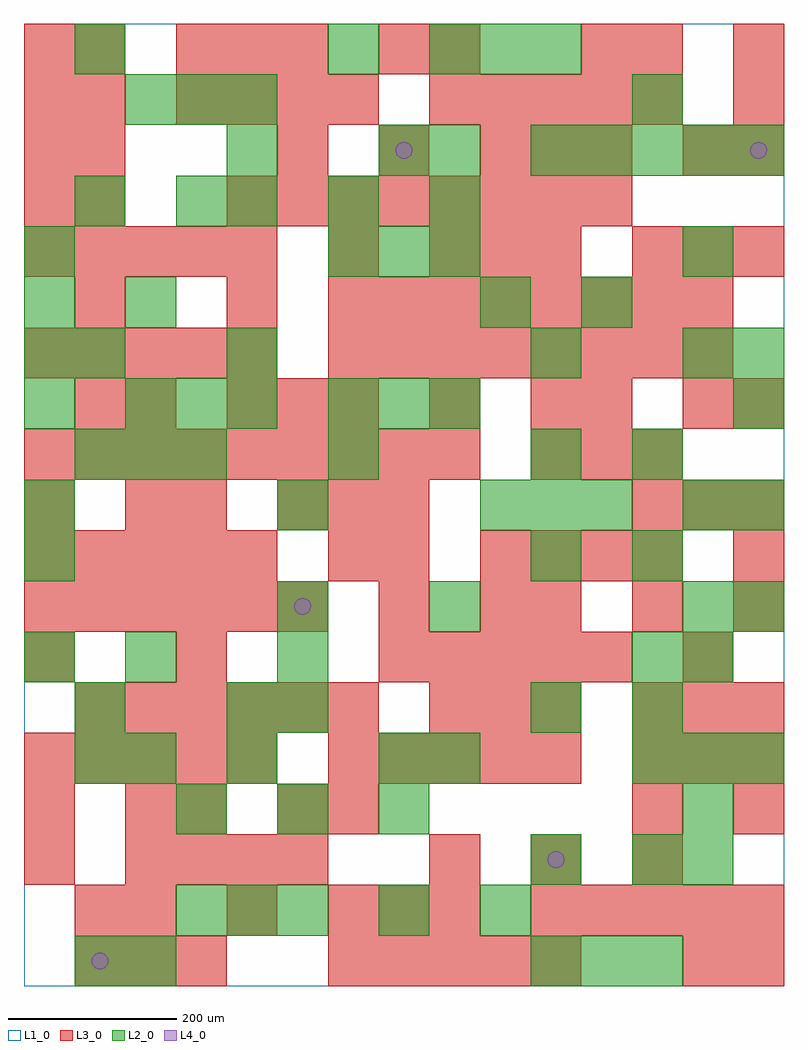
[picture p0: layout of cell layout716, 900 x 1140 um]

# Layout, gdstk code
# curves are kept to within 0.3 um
import gdstk
lib = gdstk.Library(unit=1e-6, precision=1e-09)
def R(c, l, rs):  # rectangles x0, y0, x1, y1
    for r in rs: c.add(gdstk.rectangle(r[:2], r[2:], *l))
def A(c, l, x, y, w, h, nx, ny, dx, dy):  # array of equal rectangles
    R(c, l, [(x+i*dx, y+j*dy, x+i*dx+w, y+j*dy+h) for i in range(nx) for j in range(ny)])
def P(c, l, *ps):  # polygons
    for p in ps: c.add(gdstk.Polygon(p, *l))
L1_0 = (1, 0)
L2_0 = (2, 0)
L3_0 = (3, 0)
L4_0 = (4, 0)

layout716 = lib.new_cell('layout716')
R(layout716, L1_0, [(0,0,900,1140)])
A(layout716, L2_0, 600, 0, 60, 60, 3, 1, 60, 0)
A(layout716, L2_0, 180, 60, 60, 60, 3, 1, 60, 0)
A(layout716, L2_0, 600, 120, 60, 60, 1, 3, 0, 180)
A(layout716, L2_0, 180, 180, 60, 60, 3, 1, 120, 0)
A(layout716, L2_0, 720, 240, 60, 60, 3, 1, 60, 0)
A(layout716, L2_0, 300, 300, 60, 60, 1, 3, 0, 60)
A(layout716, L2_0, 720, 360, 60, 60, 1, 3, 0, 120)
A(layout716, L2_0, 840, 420, 60, 60, 1, 3, 0, 120)
A(layout716, L2_0, 540, 540, 60, 60, 3, 1, 60, 0)
A(layout716, L2_0, 60, 600, 60, 60, 3, 1, 60, 0)
A(layout716, L2_0, 0, 660, 60, 60, 1, 4, 0, 60)
A(layout716, L2_0, 120, 660, 60, 60, 3, 2, 60, 360)
A(layout716, L2_0, 360, 660, 60, 60, 3, 2, 60, 180)
A(layout716, L2_0, 60, 720, 60, 60, 1, 3, 0, 180)
A(layout716, L2_0, 240, 900, 60, 60, 3, 1, 120, 0)
A(layout716, L2_0, 600, 960, 60, 60, 5, 1, 60, 0)
A(layout716, L2_0, 480, 1080, 60, 60, 3, 1, 60, 0)
R(layout716, L2_0, [(60,0,120,60), (120,0,180,60), (420,60,480,120), (540,60,600,120), (720,120,780,180), (780,120,840,180), (780,180,840,240), (60,240,120,300), (120,240,180,300), (240,240,300,300), (420,240,480,300), (480,240,540,300), (60,300,120,360), (240,300,300,360), (720,300,780,360), (0,360,60,420), (120,360,180,420), (780,360,840,420), (480,420,540,480), (780,420,840,480), (0,480,60,540), (0,540,60,600), (300,540,360,600), (780,540,840,600), (360,600,420,660), (600,600,660,660), (240,720,300,780), (600,720,660,780), (780,720,840,780), (840,720,900,780), (120,780,180,840), (540,780,600,840), (660,780,720,840), (780,840,840,900), (180,900,240,960), (240,960,300,1020), (420,960,480,1020), (480,960,540,1020), (720,1020,780,1080), (360,1080,420,1140)])
A(layout716, L3_0, 60, 0, 60, 60, 3, 1, 60, 0)
A(layout716, L3_0, 360, 0, 60, 60, 5, 2, 60, 240)
A(layout716, L3_0, 120, 60, 60, 60, 3, 1, 120, 0)
A(layout716, L3_0, 600, 60, 60, 60, 5, 1, 60, 0)
A(layout716, L3_0, 120, 120, 60, 60, 4, 1, 60, 0)
A(layout716, L3_0, 480, 120, 60, 60, 3, 1, 120, 0)
A(layout716, L3_0, 0, 180, 60, 60, 1, 3, 0, 180)
A(layout716, L3_0, 180, 180, 60, 60, 1, 3, 0, 180)
A(layout716, L3_0, 0, 240, 60, 60, 5, 3, 60, 240)
A(layout716, L3_0, 720, 240, 60, 60, 3, 2, 60, 60)
A(layout716, L3_0, 60, 300, 60, 60, 6, 1, 60, 0)
A(layout716, L3_0, 480, 300, 60, 60, 3, 2, 60, 540)
A(layout716, L3_0, 420, 360, 60, 60, 5, 1, 60, 0)
A(layout716, L3_0, 780, 360, 60, 60, 1, 3, 0, 300)
A(layout716, L3_0, 0, 420, 60, 60, 6, 1, 60, 0)
A(layout716, L3_0, 600, 420, 60, 60, 3, 1, 120, 0)
A(layout716, L3_0, 540, 480, 60, 60, 4, 1, 60, 0)
A(layout716, L3_0, 300, 540, 60, 60, 3, 1, 60, 0)
A(layout716, L3_0, 720, 540, 60, 60, 3, 2, 60, 300)
A(layout716, L3_0, 0, 600, 60, 60, 9, 1, 60, 0)
A(layout716, L3_0, 600, 600, 60, 60, 3, 1, 60, 0)
A(layout716, L3_0, 60, 660, 60, 60, 1, 3, 0, 120)
A(layout716, L3_0, 240, 660, 60, 60, 3, 1, 60, 0)
A(layout716, L3_0, 360, 720, 60, 60, 8, 2, 60, 60)
A(layout716, L3_0, 0, 840, 60, 60, 5, 1, 60, 0)
A(layout716, L3_0, 0, 900, 60, 60, 1, 4, 0, 60)
A(layout716, L3_0, 240, 900, 60, 60, 8, 1, 60, 0)
A(layout716, L3_0, 60, 960, 60, 60, 1, 3, 0, 60)
A(layout716, L3_0, 300, 960, 60, 60, 3, 1, 120, 0)
A(layout716, L3_0, 840, 960, 60, 60, 1, 3, 0, 60)
A(layout716, L3_0, 180, 1020, 60, 60, 4, 1, 60, 0)
A(layout716, L3_0, 480, 1020, 60, 60, 5, 1, 60, 0)
A(layout716, L3_0, 180, 1080, 60, 60, 3, 1, 60, 0)
R(layout716, L3_0, [(780,0,840,60), (840,0,900,60), (60,60,120,120), (420,60,480,120), (480,60,540,120), (0,120,60,180), (120,180,180,240), (300,180,360,240), (360,180,420,240), (720,180,780,240), (840,180,900,240), (420,420,480,480), (540,420,600,480), (360,480,420,540), (420,480,480,540), (840,480,900,540), (120,540,180,600), (120,660,180,720), (480,660,540,720), (600,660,660,720), (660,660,720,720), (840,660,900,720), (240,780,300,840), (360,840,420,900), (600,960,660,1020), (660,960,720,1020), (420,1080,480,1140), (480,1080,540,1140), (660,1080,720,1140), (720,1080,780,1140)])
P(layout716, L4_0, [(100,30),(99.239,33.827),(97.071,37.071),(93.827,39.239),(90,40),(86.173,39.239),(82.929,37.071),(80.761,33.827),(80,30),(80.761,26.173),(82.929,22.929),(86.173,20.761),(90,20),(93.827,20.761),(97.071,22.929),(99.239,26.173)],
  [(340,450),(339.239,453.827),(337.071,457.071),(333.827,459.239),(330,460),(326.173,459.239),(322.929,457.071),(320.761,453.827),(320,450),(320.761,446.173),(322.929,442.929),(326.173,440.761),(330,440),(333.827,440.761),(337.071,442.929),(339.239,446.173)],
  [(460,990),(459.239,993.827),(457.071,997.071),(453.827,999.239),(450,1000),(446.173,999.239),(442.929,997.071),(440.761,993.827),(440,990),(440.761,986.173),(442.929,982.929),(446.173,980.761),(450,980),(453.827,980.761),(457.071,982.929),(459.239,986.173)],
  [(640,150),(639.239,153.827),(637.071,157.071),(633.827,159.239),(630,160),(626.173,159.239),(622.929,157.071),(620.761,153.827),(620,150),(620.761,146.173),(622.929,142.929),(626.173,140.761),(630,140),(633.827,140.761),(637.071,142.929),(639.239,146.173)],
  [(880,990),(879.239,993.827),(877.071,997.071),(873.827,999.239),(870,1000),(866.173,999.239),(862.929,997.071),(860.761,993.827),(860,990),(860.761,986.173),(862.929,982.929),(866.173,980.761),(870,980),(873.827,980.761),(877.071,982.929),(879.239,986.173)])

lib.write_gds('layout716.gds')
